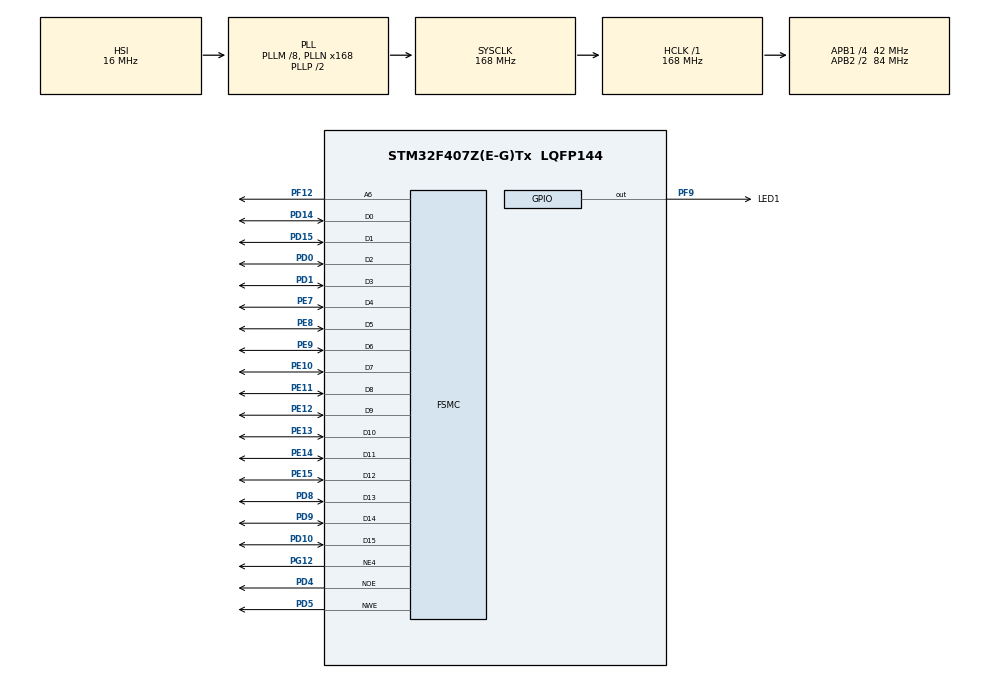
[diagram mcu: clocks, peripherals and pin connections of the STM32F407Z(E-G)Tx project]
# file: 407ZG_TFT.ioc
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FSMC.AddressSetupTime1=5
FSMC.BusTurnAroundDuration1=5
FSMC.DataSetupTime1=5
Mcu.Family=STM32F4
Mcu.Name=STM32F407Z(E-G)Tx
Mcu.Package=LQFP144
NVIC.PriorityGroup=NVIC_PRIORITYGROUP_4
PD0.Signal=FSMC_D2_DA2
PD1.Signal=FSMC_D3_DA3
PD10.Signal=FSMC_D15_DA15
PD14.Signal=FSMC_D0_DA0
PD15.Signal=FSMC_D1_DA1
PD4.Signal=FSMC_NOE
PD5.Signal=FSMC_NWE
PD8.Signal=FSMC_D13_DA13
PD9.Signal=FSMC_D14_DA14
PE10.Signal=FSMC_D7_DA7
PE11.Signal=FSMC_D8_DA8
PE12.Signal=FSMC_D9_DA9
PE13.Signal=FSMC_D10_DA10
PE14.Signal=FSMC_D11_DA11
PE15.Signal=FSMC_D12_DA12
PE7.Signal=FSMC_D4_DA4
PE8.Signal=FSMC_D5_DA5
PE9.Signal=FSMC_D6_DA6
PF12.Signal=FSMC_A6
PF9.GPIO_Label=LED1
PF9.GPIO_PuPd=GPIO_PULLDOWN
PF9.Signal=GPIO_Output
PG12.Mode=NorPsramChipSelect4_1
PG12.Signal=FSMC_NE4
ProjectManager.HeapSize=0x200
ProjectManager.StackSize=0x1000
ProjectManager.TargetToolchain=EWARM V8
RCC.48MHZClocksFreq_Value=84000000
RCC.AHBFreq_Value=168000000
RCC.APB1CLKDivider=RCC_HCLK_DIV4
RCC.APB1Freq_Value=42000000
RCC.APB1TimFreq_Value=84000000
RCC.APB2CLKDivider=RCC_HCLK_DIV2
RCC.APB2Freq_Value=84000000
RCC.APB2TimFreq_Value=168000000
RCC.CortexFreq_Value=168000000
RCC.HCLKFreq_Value=168000000
RCC.HSE_VALUE=25000000
RCC.HSI_VALUE=16000000
RCC.LSE_VALUE=32768
RCC.PLLM=8
RCC.PLLN=168
RCC.SYSCLKFreq_VALUE=168000000
RCC.SYSCLKSource=RCC_SYSCLKSOURCE_PLLCLK
RCC.VCOOutputFreq_Value=336000000
SH.FSMC_A6.0=FSMC_A6,A6_1
SH.FSMC_D0_DA0.0=FSMC_D0,16b-d1
SH.FSMC_D10_DA10.0=FSMC_D10,16b-d1
SH.FSMC_D11_DA11.0=FSMC_D11,16b-d1
SH.FSMC_D12_DA12.0=FSMC_D12,16b-d1
SH.FSMC_D13_DA13.0=FSMC_D13,16b-d1
SH.FSMC_D14_DA14.0=FSMC_D14,16b-d1
SH.FSMC_D15_DA15.0=FSMC_D15,16b-d1
SH.FSMC_D1_DA1.0=FSMC_D1,16b-d1
SH.FSMC_D2_DA2.0=FSMC_D2,16b-d1
SH.FSMC_D3_DA3.0=FSMC_D3,16b-d1
SH.FSMC_D4_DA4.0=FSMC_D4,16b-d1
SH.FSMC_D5_DA5.0=FSMC_D5,16b-d1
SH.FSMC_D6_DA6.0=FSMC_D6,16b-d1
SH.FSMC_D7_DA7.0=FSMC_D7,16b-d1
SH.FSMC_D8_DA8.0=FSMC_D8,16b-d1
SH.FSMC_D9_DA9.0=FSMC_D9,16b-d1
SH.FSMC_NOE.0=FSMC_NOE,Lcd1
SH.FSMC_NWE.0=FSMC_NWE,Lcd1
board=custom

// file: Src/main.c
/* USER CODE BEGIN Header */
/**
  ******************************************************************************
  * @file           : main.c
  * @brief          : Main program body
  ******************************************************************************
  * @attention
  *
  * <h2><center>&copy; Copyright (c) 2021 STMicroelectronics.
  * All rights reserved.</center></h2>
  *
  * This software component is licensed by ST under BSD 3-Clause license,
  * the "License"; You may not use this file except in compliance with the
  * License. You may obtain a copy of the License at:
  *                        opensource.org/licenses/BSD-3-Clause
  *
  ******************************************************************************
  */
/* USER CODE END Header */

#include "main.h"

/* USER CODE BEGIN Includes */
#include "lvgl.h"
#include "porting/lv_port_disp_template.h"
/* USER CODE END Includes */

SRAM_HandleTypeDef hsram1;

void SystemClock_Config(void);
static void MX_GPIO_Init(void);
static void MX_FSMC_Init(void);

/* USER CODE BEGIN 0 */
extern void LCD_Init(void);
extern void lv_demo_stress(void);
/* USER CODE END 0 */

int main(void)
{

  /* MCU Configuration--------------------------------------------------------*/

  /* Reset of all peripherals, Initializes the Flash interface and the Systick. */
  HAL_Init();

  /* Configure the system clock */
  SystemClock_Config();

  /* Initialize all configured peripherals */
  MX_GPIO_Init();
  MX_FSMC_Init();
  /* USER CODE BEGIN 2 */
  LCD_Init();
  lv_init();
  lv_port_disp_init();
  lv_demo_stress();
  static uint32_t sec = 0;
  /* USER CODE END 2 */

  /* Infinite loop */
  while (1)
  {

    /* USER CODE BEGIN 3 */
    lv_tick_inc(1);
    lv_task_handler();
    uint32_t new_sec = HAL_GetTick()/1000;
    if(sec!= new_sec)
    {
      HAL_GPIO_WritePin(LED1_GPIO_Port, LED1_Pin, sec&0x01?GPIO_PIN_SET:GPIO_PIN_RESET);
      sec = new_sec;
    }

    HAL_Delay(1);
  }
  /* USER CODE END 3 */
}

void SystemClock_Config(void)
{
  RCC_OscInitTypeDef RCC_OscInitStruct = {0};
  RCC_ClkInitTypeDef RCC_ClkInitStruct = {0};

  /** Configure the main internal regulator output voltage
  */
  __HAL_RCC_PWR_CLK_ENABLE();
  __HAL_PWR_VOLTAGESCALING_CONFIG(PWR_REGULATOR_VOLTAGE_SCALE1);
  /** Initializes the CPU, AHB and APB busses clocks
  */
  RCC_OscInitStruct.OscillatorType = RCC_OSCILLATORTYPE_HSI;
  RCC_OscInitStruct.HSIState = RCC_HSI_ON;
  RCC_OscInitStruct.HSICalibrationValue = RCC_HSICALIBRATION_DEFAULT;
  RCC_OscInitStruct.PLL.PLLState = RCC_PLL_ON;
  RCC_OscInitStruct.PLL.PLLSource = RCC_PLLSOURCE_HSI;
  RCC_OscInitStruct.PLL.PLLM = 8;
  RCC_OscInitStruct.PLL.PLLN = 168;
  RCC_OscInitStruct.PLL.PLLP = RCC_PLLP_DIV2;
  RCC_OscInitStruct.PLL.PLLQ = 4;
  if (HAL_RCC_OscConfig(&RCC_OscInitStruct) != HAL_OK)
  {
    Error_Handler();
  }
  /** Initializes the CPU, AHB and APB busses clocks
  */
  RCC_ClkInitStruct.ClockType = RCC_CLOCKTYPE_HCLK|RCC_CLOCKTYPE_SYSCLK
                              |RCC_CLOCKTYPE_PCLK1|RCC_CLOCKTYPE_PCLK2;
  RCC_ClkInitStruct.SYSCLKSource = RCC_SYSCLKSOURCE_PLLCLK;
  RCC_ClkInitStruct.AHBCLKDivider = RCC_SYSCLK_DIV1;
  RCC_ClkInitStruct.APB1CLKDivider = RCC_HCLK_DIV4;
  RCC_ClkInitStruct.APB2CLKDivider = RCC_HCLK_DIV2;

  if (HAL_RCC_ClockConfig(&RCC_ClkInitStruct, FLASH_LATENCY_5) != HAL_OK)
  {
    Error_Handler();
  }
}

static void MX_GPIO_Init(void)
{
  GPIO_InitTypeDef GPIO_InitStruct = {0};

  /* GPIO Ports Clock Enable */
  __HAL_RCC_GPIOF_CLK_ENABLE();
  __HAL_RCC_GPIOE_CLK_ENABLE();
  __HAL_RCC_GPIOD_CLK_ENABLE();
  __HAL_RCC_GPIOG_CLK_ENABLE();

  /*Configure GPIO pin Output Level */
  HAL_GPIO_WritePin(LED1_GPIO_Port, LED1_Pin, GPIO_PIN_RESET);

  /*Configure GPIO pin : LED1_Pin */
  GPIO_InitStruct.Pin = LED1_Pin;
  GPIO_InitStruct.Mode = GPIO_MODE_OUTPUT_PP;
  GPIO_InitStruct.Pull = GPIO_PULLDOWN;
  GPIO_InitStruct.Speed = GPIO_SPEED_FREQ_LOW;
  HAL_GPIO_Init(LED1_GPIO_Port, &GPIO_InitStruct);

}

/* FSMC initialization function */
static void MX_FSMC_Init(void)
{

  FSMC_NORSRAM_TimingTypeDef Timing = {0};

  /** Perform the SRAM1 memory initialization sequence
  */
  hsram1.Instance = FSMC_NORSRAM_DEVICE;
  hsram1.Extended = FSMC_NORSRAM_EXTENDED_DEVICE;
  /* hsram1.Init */
  hsram1.Init.NSBank = FSMC_NORSRAM_BANK4;
  hsram1.Init.DataAddressMux = FSMC_DATA_ADDRESS_MUX_DISABLE;
  hsram1.Init.MemoryType = FSMC_MEMORY_TYPE_SRAM;
  hsram1.Init.MemoryDataWidth = FSMC_NORSRAM_MEM_BUS_WIDTH_16;
  hsram1.Init.BurstAccessMode = FSMC_BURST_ACCESS_MODE_DISABLE;
  hsram1.Init.WaitSignalPolarity = FSMC_WAIT_SIGNAL_POLARITY_LOW;
  hsram1.Init.WrapMode = FSMC_WRAP_MODE_DISABLE;
  hsram1.Init.WaitSignalActive = FSMC_WAIT_TIMING_BEFORE_WS;
  hsram1.Init.WriteOperation = FSMC_WRITE_OPERATION_ENABLE;
  hsram1.Init.WaitSignal = FSMC_WAIT_SIGNAL_DISABLE;
  hsram1.Init.ExtendedMode = FSMC_EXTENDED_MODE_DISABLE;
  hsram1.Init.AsynchronousWait = FSMC_ASYNCHRONOUS_WAIT_DISABLE;
  hsram1.Init.WriteBurst = FSMC_WRITE_BURST_DISABLE;
  hsram1.Init.PageSize = FSMC_PAGE_SIZE_NONE;
  /* Timing */
  Timing.AddressSetupTime = 5;
  Timing.AddressHoldTime = 5;
  Timing.DataSetupTime = 5;
  Timing.BusTurnAroundDuration = 0;
  Timing.CLKDivision = 0;
  Timing.DataLatency = 0;
  Timing.AccessMode = FSMC_ACCESS_MODE_A;
  /* ExtTiming */

  if (HAL_SRAM_Init(&hsram1, &Timing, NULL) != HAL_OK)
  {
    Error_Handler( );
  }

}

void Error_Handler(void)
{
}

/************************ (C) COPYRIGHT STMicroelectronics *****END OF FILE****/
